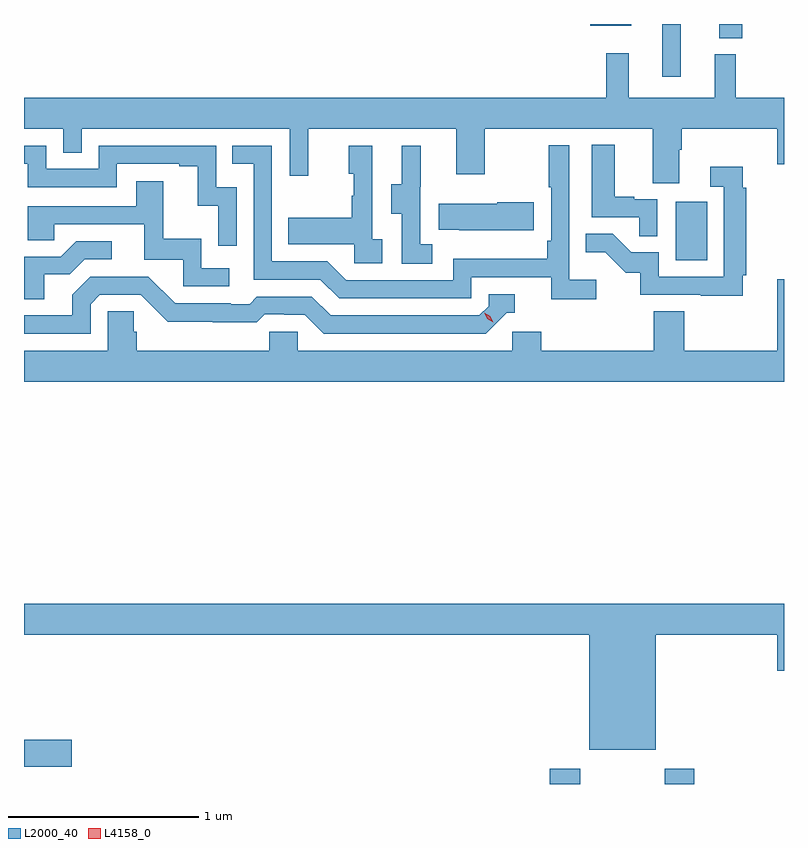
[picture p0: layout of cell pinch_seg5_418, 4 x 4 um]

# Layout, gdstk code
import gdstk
lib = gdstk.Library(unit=1e-6, precision=1e-09)
def R(c, l, rs):  # rectangles x0, y0, x1, y1
    for r in rs: c.add(gdstk.rectangle(r[:2], r[2:], *l))
def P(c, l, *ps):  # polygons
    for p in ps: c.add(gdstk.Polygon(p, *l))
L2000_40 = (2000, 40)
L4158_0 = (4158, 0)

pinch_seg5_418 = lib.new_cell('pinch_seg5_418')
R(pinch_seg5_418, L2000_40, [(978.995,855.975,979.155,856.054), (979.6,855.975,979.755,856.054), (976.227,856.066,976.477,856.208), (979.658,858.732,979.822,859.039), (979.586,859.698,979.683,859.975), (979.886,859.901,980.008,859.975), (979.208,859.967,979.423,859.975)])
P(pinch_seg5_418, L2000_40, [(976.227,859.424),(976.434,859.424),(976.434,859.297),(976.53,859.297),(976.53,859.424),(977.625,859.424),(977.625,859.176),(977.723,859.176),(977.723,859.424),(978.503,859.424),(978.503,859.185),(978.651,859.185),(978.651,859.424),(979.535,859.424),(979.535,859.138),(979.675,859.138),(979.675,859.312),(979.688,859.312),(979.688,859.424),(980.192,859.424),(980.192,859.236),(980.227,859.236),(980.227,859.588),(979.972,859.588),(979.972,859.816),(979.862,859.816),(979.862,859.588),(979.409,859.588),(979.409,859.822),(979.291,859.822),(979.291,859.588),(976.227,859.588)],
  [(979.56,859.053),(979.439,859.053),(979.439,859.066),(979.336,859.066),(979.336,859.339),(979.214,859.339),(979.214,858.957),(979.465,858.957),(979.465,858.859),(979.56,858.859)],
  [(979.24,858.628),(979.098,858.628),(979.098,859.336),(978.99,859.336),(978.99,859.117),(979.002,859.117),(979.002,858.835),(978.982,858.835),(978.982,858.739),(978.486,858.739),(978.486,858.627),(977.922,858.627),(977.823,858.726),(977.532,858.726),(977.532,859.335),(977.323,859.335),(977.323,859.239),(977.436,859.239),(977.436,858.63),(977.786,858.63),(977.885,858.531),(978.582,858.531),(978.582,858.642),(979.001,858.642),(979.001,858.526),(979.24,858.526)],
  [(977.346,859.116),(977.238,859.116),(977.238,859.335),(976.62,859.335),(976.62,859.212),(976.344,859.212),(976.344,859.335),(976.227,859.335),(976.227,859.239),(976.248,859.239),(976.248,859.116),(976.716,859.116),(976.716,859.239),(977.045,859.239),(977.045,859.227),(977.141,859.227),(977.141,859.019),(977.25,859.019),(977.25,858.807),(977.346,858.807)],
  [(978.112,858.842),(978.06,858.842),(978.06,859.333),(977.936,859.333),(977.936,859.188),(977.962,859.188),(977.962,859.07),(977.952,859.07),(977.952,858.955),(977.617,858.955),(977.617,858.815),(977.964,858.815),(977.964,858.717),(978.112,858.717)],
  [(978.376,858.815),(978.312,858.815),(978.312,859.119),(978.314,859.119),(978.314,859.333),(978.215,859.333),(978.215,859.131),(978.161,859.131),(978.161,858.976),(978.216,858.976),(978.216,858.712),(978.376,858.712)],
  [(980.009,858.652),(980.027,858.652),(980.027,859.112),(980.009,859.112),(980.009,859.225),(979.839,859.225),(979.839,859.119),(979.911,859.119),(979.911,858.645),(979.569,858.645),(979.569,858.774),(979.424,858.774),(979.326,858.872),(979.183,858.872),(979.183,858.773),(979.287,858.773),(979.394,858.666),(979.471,858.666),(979.471,858.549),(979.789,858.549),(979.789,858.544),(980.009,858.544)],
  [(977.308,858.69),(977.16,858.69),(977.16,858.844),(976.961,858.844),(976.961,859.147),(976.817,859.147),(976.817,859.017),(976.248,859.017),(976.248,858.837),(976.385,858.837),(976.385,858.921),(976.859,858.921),(976.859,858.735),(977.064,858.735),(977.064,858.594),(977.308,858.594)],
  [(978.91,859.038),(978.719,859.038),(978.719,859.03),(978.409,859.03),(978.409,858.893),(978.517,858.893),(978.517,858.89),(978.91,858.89)],
  [(976.333,858.658),(976.468,858.658),(976.548,858.738),(976.69,858.738),(976.69,858.831),(976.502,858.831),(976.421,858.75),(976.227,858.75),(976.227,858.526),(976.333,858.526)],
  [(976.578,858.501),(976.626,858.549),(976.842,858.549),(976.984,858.407),(977.22,858.407),(977.22,858.405),(977.453,858.405),(977.495,858.447),(977.598,858.447),(977.598,858.444),(977.705,858.444),(977.804,858.345),(978.657,858.345),(978.768,858.456),(978.811,858.456),(978.811,858.552),(978.672,858.552),(978.672,858.489),(978.624,858.441),(977.841,858.441),(977.742,858.54),(977.453,858.54),(977.414,858.501),(977.315,858.501),(977.315,858.504),(977.022,858.504),(976.881,858.645),(976.575,858.645),(976.481,858.551),(976.481,858.441),(976.227,858.441),(976.227,858.345),(976.578,858.345)],
  [(980.227,858.631),(980.192,858.631),(980.192,858.256),(979.701,858.256),(979.701,858.464),(979.541,858.464),(979.541,858.256),(978.95,858.256),(978.95,858.354),(978.798,858.354),(978.798,858.256),(977.667,858.256),(977.667,858.354),(977.517,858.354),(977.517,858.256),(976.82,858.256),(976.82,858.354),(976.805,858.354),(976.805,858.464),(976.668,858.464),(976.668,858.256),(976.227,858.256),(976.227,858.092),(980.227,858.092)],
  [(979.552,856.76),(980.192,856.76),(980.192,856.572),(980.227,856.572),(980.227,856.924),(976.227,856.924),(976.227,856.76),(979.202,856.76),(979.202,856.154),(979.552,856.154)])
P(pinch_seg5_418, L4158_0, [(978.696,858.404),(978.666,858.423),(978.649,858.456),(978.649,858.456),(978.649,858.456),(978.68,858.437),(978.697,858.404),(978.697,858.404)])

lib.write_gds('pinch_seg5_418.gds')
